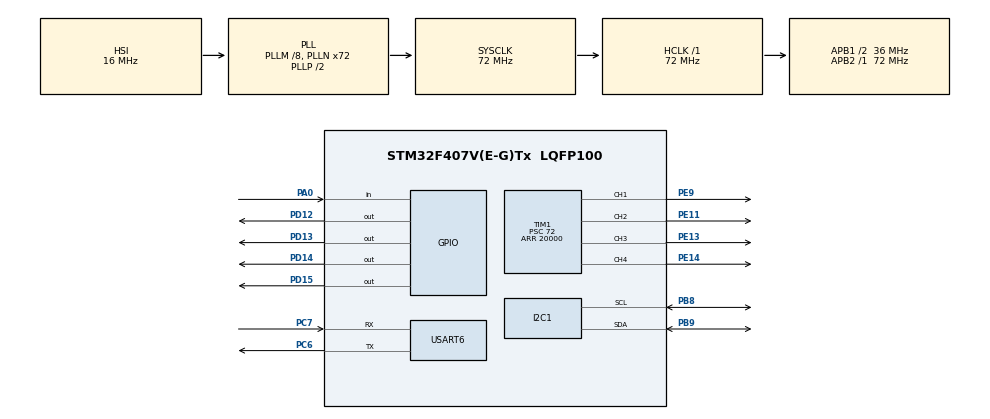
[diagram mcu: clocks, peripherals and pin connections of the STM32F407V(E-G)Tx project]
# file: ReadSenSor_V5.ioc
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I2C1.I2C_Mode=I2C_Fast
Mcu.Family=STM32F4
Mcu.Name=STM32F407V(E-G)Tx
Mcu.Package=LQFP100
NVIC.PriorityGroup=NVIC_PRIORITYGROUP_4
NVIC.TIM2_IRQn=true\:0\:0\:false\:false\:true\:true\:true\:true
NVIC.USART6_IRQn=true\:0\:0\:false\:false\:true\:true\:true\:true
PA0-WKUP.Signal=GPIO_Input
PA13.Mode=Serial_Wire
PA13.Signal=SYS_JTMS-SWDIO
PA14.Mode=Serial_Wire
PA14.Signal=SYS_JTCK-SWCLK
PB8.Mode=I2C
PB8.Signal=I2C1_SCL
PB9.Mode=I2C
PB9.Signal=I2C1_SDA
PC6.Mode=Asynchronous
PC6.Signal=USART6_TX
PC7.Mode=Asynchronous
PC7.Signal=USART6_RX
PD12.Signal=GPIO_Output
PD13.Signal=GPIO_Output
PD14.Signal=GPIO_Output
PD15.Signal=GPIO_Output
PE11.Signal=S_TIM1_CH2
PE13.Signal=S_TIM1_CH3
PE14.Signal=S_TIM1_CH4
PE9.Signal=S_TIM1_CH1
PH0-OSC_IN.Mode=HSE-External-Oscillator
PH0-OSC_IN.Signal=RCC_OSC_IN
PH1-OSC_OUT.Mode=HSE-External-Oscillator
PH1-OSC_OUT.Signal=RCC_OSC_OUT
ProjectManager.HeapSize=0x200
ProjectManager.StackSize=0x400
ProjectManager.TargetToolchain=MDK-ARM V5.32
RCC.48MHZClocksFreq_Value=36000000
RCC.AHBFreq_Value=72000000
RCC.APB1CLKDivider=RCC_HCLK_DIV2
RCC.APB1Freq_Value=36000000
RCC.APB1TimFreq_Value=72000000
RCC.APB2Freq_Value=72000000
RCC.APB2TimFreq_Value=72000000
RCC.CortexFreq_Value=72000000
RCC.HCLKFreq_Value=72000000
RCC.HSE_VALUE=25000000
RCC.HSI_VALUE=16000000
RCC.LSE_VALUE=32768
RCC.PLLM=8
RCC.PLLN=72
RCC.SYSCLKFreq_VALUE=72000000
RCC.SYSCLKSource=RCC_SYSCLKSOURCE_PLLCLK
RCC.VCOOutputFreq_Value=144000000
SH.S_TIM1_CH1.0=TIM1_CH1,PWM Generation1 CH1
SH.S_TIM1_CH2.0=TIM1_CH2,PWM Generation2 CH2
SH.S_TIM1_CH3.0=TIM1_CH3,PWM Generation3 CH3
SH.S_TIM1_CH4.0=TIM1_CH4,PWM Generation4 CH4
TIM1.AutoReloadPreload=TIM_AUTORELOAD_PRELOAD_ENABLE
TIM1.Channel-PWM\ Generation1\ CH1=TIM_CHANNEL_1
TIM1.Channel-PWM\ Generation2\ CH2=TIM_CHANNEL_2
TIM1.Channel-PWM\ Generation3\ CH3=TIM_CHANNEL_3
TIM1.Channel-PWM\ Generation4\ CH4=TIM_CHANNEL_4
TIM1.Period=20000
TIM1.Prescaler=72
TIM1.Pulse-PWM\ Generation1\ CH1=955
TIM1.Pulse-PWM\ Generation2\ CH2=955
TIM1.Pulse-PWM\ Generation3\ CH3=955
TIM1.Pulse-PWM\ Generation4\ CH4=955
TIM2.Period=72000000
USART6.VirtualMode=VM_ASYNC
VP_TIM1_VS_ClockSourceINT.Mode=Internal
VP_TIM2_VS_ClockSourceINT.Mode=Internal
board=custom

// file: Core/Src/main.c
/* USER CODE BEGIN Header */
/**
  ******************************************************************************
  * @file           : main.c
  * @brief          : Main program body
  ******************************************************************************
  * @attention
  *
  * Copyright (c) 2023 STMicroelectronics.
  * All rights reserved.
  *
  * This software is licensed under terms that can be found in the LICENSE file
  * in the root directory of this software component.
  * If no LICENSE file comes with this software, it is provided AS-IS.
  *
  ******************************************************************************
  */
/* USER CODE END Header */
#include "main.h"

/* USER CODE BEGIN Includes */
#include <math.h>
/* USER CODE END Includes */

/* USER CODE BEGIN PTD */
// MPU6050 structure
typedef struct
{

	int16_t Accel_X_RAW;
	int16_t Accel_Y_RAW;
	int16_t Accel_Z_RAW;
	float Ax;
	float Ay;
	float Az;

	int16_t Gyro_X_RAW;
	int16_t Gyro_Y_RAW;
	int16_t Gyro_Z_RAW;
	float Gx;
	float Gy;
	float Gz;

	int16_t Magn_X_RAW;
	int16_t Magn_Y_RAW;
	int16_t Magn_Z_RAW;
	float Mx;
	float My;
	float Mz;

	float roll;
	float pitch;
	float yaw;
	float Temperature;
	float heading;
} MPU6050_t;
// MS5611 structure
typedef struct
{
	uint16_t C[6]; // PROM
	uint16_t reserve;
	uint16_t crc;
	uint32_t D[2]; // D1 temperature data & D2 pressure data
	int32_t dT;	   // Difference between actual and reference temperature
	int64_t OFF;   // Offset at actual temperature
	int64_t SENS;  // Sensitivity at actual temperature
	int32_t TEMP;  // Actual temperature
	int32_t P;	   // Actual pressure
} MS5611_t;
// Quaternion structure
typedef struct
{
	float q1;
	float q2;
	float q3;
	float q4;
} Quaternion_t;
// Kalman structure
typedef struct
{
	float Q_angle;
	float Q_bias;
	float R_measure;
	float angle;
	float bias;
	float P[2][2];

} Kalman_t;
// Euler angle
typedef struct
{
	float roll;
	float pitch;
	float yaw;
} Euler_t;
// Lowpass filter
typedef struct
{
	float out;
	float ePow;

} Lowpass_t;
//PID
typedef struct
{
	float Kp;
	float Ki;
	float Kd;
	float e;
	float e_pre;
	float e_i;
	float v_e;
	float range;
	float Lower_limit;
	float Upper_limit;
} PID_t;
// Brushless
typedef struct
{
	float Duty;
	float Duty_base;
	float Duty_max;
	float Duty_min;
} Motor_t;
/* USER CODE END PTD */

/* USER CODE BEGIN PD */
#define PI 3.14159265358979
#define RAD_TO_DEG 57.295779513082320876798154814105
#define DEG_TO_RAD 0.01745329252
#define SIMPLE_TIME 0.002						 // 2ms
#define DELTA_T SIMPLE_TIME						 // 2ms
#define GYRO_MEAN_ERROR PI * (5.0f / 180.0f)	 // 5 deg/s gyroscope measurement error (in rad/s)  *from paper*
#define BETA sqrt(3.0f / 4.0f) * GYRO_MEAN_ERROR //*from paper* 0.041
#define ZETA 0.015
/* Default I2C address */
#define MPU6050_ADDRESS 0x68
#define MPU6050_ADDR 0xD0

/* Who I am register value */
#define MPU6050_I_AM 0x68

/* MPU6050 registers */
#define MPU6050_AUX_VDDIO 0x01
#define MPU6050_SELF_TEST_X 0X0D
#define MPU6050_SELF_TEST_Y 0X0E
#define MPU6050_SELF_TEST_Z 0X0F
#define MPU6050_SELF_TEST_A 0X10
#define MPU6050_SMPLRT_DIV 0x19
#define MPU6050_CONFIG 0x1A
#define MPU6050_GYRO_CONFIG 0x1B
#define MPU6050_ACCEL_CONFIG 0x1C
#define MPU6050_MOTION_THRESH 0x1F
#define MPU6050_FIFO_EN 0X23
#define MPU6050_I2C_MST_CTRL 0X24
#define MPU6050_I2C_SLV0_ADDR 0X25
#define MPU6050_I2C_SLV0_REG 0X26
#define MPU6050_I2C_SLV0_CTRL 0X27
#define MPU6050_INT_PIN_CFG 0x37
#define MPU6050_INT_ENABLE 0x38
#define MPU6050_INT_STATUS 0x3A
#define MPU6050_ACCEL_XOUT_H 0x3B
#define MPU6050_ACCEL_XOUT_L 0x3C
#define MPU6050_ACCEL_YOUT_H 0x3D
#define MPU6050_ACCEL_YOUT_L 0x3E
#define MPU6050_ACCEL_ZOUT_H 0x3F
#define MPU6050_ACCEL_ZOUT_L 0x40
#define MPU6050_TEMP_OUT_H 0x41
#define MPU6050_TEMP_OUT_L 0x42
#define MPU6050_GYRO_XOUT_H 0x43
#define MPU6050_GYRO_XOUT_L 0x44
#define MPU6050_GYRO_YOUT_H 0x45
#define MPU6050_GYRO_YOUT_L 0x46
#define MPU6050_GYRO_ZOUT_H 0x47
#define MPU6050_GYRO_ZOUT_L 0x48
#define MPU6050_MOT_DETECT_STATUS 0x61
#define MPU6050_I2C_MST_DELAY_CTRL 0x67
#define MPU6050_SIGNAL_PATH_RESET 0x68
#define MPU6050_MOT_DETECT_CTRL 0x69
#define MPU6050_USER_CTRL 0x6A
#define MPU6050_PWR_MGMT_1 0x6B
#define MPU6050_PWR_MGMT_2 0x6C
#define MPU6050_FIFO_COUNTH 0x72
#define MPU6050_FIFO_COUNTL 0x73
#define MPU6050_FIFO_R_W 0x74
#define MPU6050_WHO_AM_I 0x75

#define MPU6050_SMPLRT_DIV_1 0x00
#define MPU6050_EXT_SYNC_SET 0x00 // Input disabled
#define MPU6050_DLPF_CFG 0x01	  // acc {184Hz-2.0ms} gyro {188Hz-1.9ms} Fs 1kHz

#define MPU6050_XG_ST 0x01
#define MPU6050_YG_ST 0x01
#define MPU6050_ZG_ST 0x01
#define MPU6050_FS_SEL_250 0x00
#define MPU6050_FS_SEL_500 0x01
#define MPU6050_FS_SEL_1000 0x02
#define MPU6050_FS_SEL_2000 0x03

#define MPU6050_XA_ST 0x01
#define MPU6050_YA_ST 0x01
#define MPU6050_ZA_ST 0x01
#define MPU6050_AFS_SEL_2 0x00
#define MPU6050_AFS_SEL_4 0x01
#define MPU6050_AFS_SEL_8 0x02
#define MPU6050_AFS_SEL_16 0x03

#define MPU6050_I2C_MST_CLK_400 0x0D // 400 kHz
#define MPU6050_I2C_SLV0_DLY_EN 0x01

#define MPU6050_WAKEUP 0x00
#define MPU6050_CLKSEL_PLLX 0x01

/* Gyro sensitivities in degrees/s */
#define MPU6050_GYRO_SENS_250 ((float)131)
#define MPU6050_GYRO_SENS_500 ((float)65.5)
#define MPU6050_GYRO_SENS_1000 ((float)32.8)
#define MPU6050_GYRO_SENS_2000 ((float)16.4)

/* Acce sensitivities in g/s */
#define MPU6050_ACCE_SENS_2 ((float)16384)
#define MPU6050_ACCE_SENS_4 ((float)8192)
#define MPU6050_ACCE_SENS_8 ((float)4096)
#define MPU6050_ACCE_SENS_16 ((float)2048)

/* Default I2C address */
#define HMC5883L_ADDRESS 0x1E
#define HMC5883L_ADDR 0x3C
/* HMC5883L registers */
#define HMC5883L_CONFIG_A 0x00
#define HMC5883L_CONFIG_B 0x01
#define HMC5883L_MODE 0x02
#define HMC5883L_DATAX_H 0x03
#define HMC5883L_DATAX_L 0x04
#define HMC5883L_DATAZ_H 0x05
#define HMC5883L_DATAZ_L 0x06
#define HMC5883L_DATAY_H 0x07
#define HMC5883L_DATAY_L 0x08
#define HMC5883L_STATUS 0x09
#define HMC5883L_ID_A 0x0A
#define HMC5883L_ID_B 0x0B
#define HMC5883L_ID_C 0x0C

#define HMC5883L_AVERAGING_1 0x00
#define HMC5883L_AVERAGING_2 0x01
#define HMC5883L_AVERAGING_4 0x02
#define HMC5883L_AVERAGING_8 0x03

#define HMC5883L_RATE_0P75 0x00
#define HMC5883L_RATE_1P5 0x01
#define HMC5883L_RATE_3 0x02
#define HMC5883L_RATE_7P5 0x03
#define HMC5883L_RATE_15 0x04
#define HMC5883L_RATE_30 0x05
#define HMC5883L_RATE_75 0x06

#define HMC5883L_BIAS_NORMAL 0x00
#define HMC5883L_BIAS_POSITIVE 0x01
#define HMC5883L_BIAS_NEGATIVE 0x02

#define HMC5883L_SEL_0P88 0x00
#define HMC5883L_SEL_1P3 0x01
#define HMC5883L_SEL_1P9 0x02
#define HMC5883L_SEL_2P5 0x03
#define HMC5883L_SEL_4P0 0x04
#define HMC5883L_SEL_4P7 0x05
#define HMC5883L_SEL_5P6 0x06
#define HMC5883L_SEL_8P1 0x07

#define HMC5883L_MODE_CONTINUOUS 0x00
#define HMC5883L_MODE_SINGLE 0x01
#define HMC5883L_MODE_IDLE 0x02

#define HMC5883L_STATUS_LOCK_BIT 1
#define HMC5883L_STATUS_READY_BIT 0

#define HMC5883L_MAGN_SENS_0P88 ((float)1370)
#define HMC5883L_MAGN_SENS_1P3 ((float)1090)
#define HMC5883L_MAGN_SENS_1P9 ((float)820)
#define HMC5883L_MAGN_SENS_2P5 ((float)660)
#define HMC5883L_MAGN_SENS_4P0 ((float)440)
#define HMC5883L_MAGN_SENS_4P7 ((float)390)
#define HMC5883L_MAGN_SENS_5P6 ((float)330)
#define HMC5883L_MAGN_SENS_8P1 ((float)230)
/* Default I2C address */
#define MS5611_ADDRESS 0x77
#define MS5611_ADDR 0xEE

#define MS5611_OK 0x01
#define MS5611_ERROR 0x00

// COMMAND
#define MS5611_CMD_REST 0X1E
#define MS5611_CMD_CONVERT_D1_256 0X40
#define MS5611_CMD_CONVERT_D1_512 0X42
#define MS5611_CMD_CONVERT_D1_1024 0X44
#define MS5611_CMD_CONVERT_D1_2048 0X46
#define MS5611_CMD_CONVERT_D1_4096 0X48
#define MS5611_CMD_CONVERT_D2_256 0X50
#define MS5611_CMD_CONVERT_D2_512 0X52
#define MS5611_CMD_CONVERT_D2_1024 0X54
#define MS5611_CMD_CONVERT_D2_2048 0X56
#define MS5611_CMD_CONVERT_D2_4096 0X58

#define MS6511_ADC_READ 0X00

#define MS5611_PROM_READ_0 0XA0
#define MS5611_PROM_READ_1 0XA2
#define MS5611_PROM_READ_2 0XA4
#define MS5611_PROM_READ_3 0XA6
#define MS5611_PROM_READ_4 0XA8
#define MS5611_PROM_READ_5 0XAA
#define MS5611_PROM_READ_6 0XAC
#define MS5611_PROM_READ_7 0XAE

/* USER CODE END PD */

I2C_HandleTypeDef hi2c1;

TIM_HandleTypeDef htim1;
TIM_HandleTypeDef htim2;

UART_HandleTypeDef huart6;

/* USER CODE BEGIN PV */
const uint16_t i2c_timeout = 100;
int enable = 0;
float Beta = 0.041;
float Zeta = 0.015;

MPU6050_t MPU6050;
MS5611_t MS5611;

Quaternion_t Q_est = {1,0,0,0};

Motor_t M1 = {
	.Duty = 0,
	.Duty_base = 45,
	.Duty_min = 955,
	.Duty_max = 1400,
};
Motor_t M2 = {
	.Duty = 0,
	.Duty_base = 45,
	.Duty_min = 955,
	.Duty_max = 1400,
};
Motor_t M3 = {
	.Duty = 0,
	.Duty_base = 45,
	.Duty_min = 955,
	.Duty_max = 1400,
};
Motor_t M4 = {
	.Duty = 0,
	.Duty_base = 45,
	.Duty_min = 955,
	.Duty_max = 1400,
};
PID_t PID_roll = {
	.Kp = 0,
	.Ki = 0,
	.Kd = 0,
	.e = 0,
	.e_pre = 0,
	.v_e = 0,
	.e_i = 0,
	.range = 0,
	.Upper_limit = 100,
	.Lower_limit = -100,
};
PID_t PID_pitch = {
	.Kp = 0,
	.Ki = 0,
	.Kd = 0,
	.e = 0,
	.e_pre = 0,
	.v_e = 0,
	.e_i = 0,
	.range = 1,
	.Upper_limit = 100,
	.Lower_limit = -100,
};
PID_t PID_yaw = {
	.Kp = 0,
	.Ki = 0,
	.Kd = 0,
	.e = 0,
	.e_pre = 0,
	.v_e = 0,
	.e_i = 0,
	.range = 0,
	.Upper_limit = 100,
	.Lower_limit = -100,
};
PID_t PID_height = {
	.Kp = 0,
	.Ki = 0,
	.Kd = 0,
	.e = 0,
	.e_pre = 0,
	.v_e = 0,
	.e_i = 0,
	.range = 0,
	.Upper_limit = 100,
	.Lower_limit = -100,
};

Lowpass_t LP_height = {0};
Euler_t Madgwick = {
	.roll 	= 0,
	.pitch 	= 0,
	.yaw 		= 0,
};
Euler_t Madgwick_GimbalLock = {
	.roll 	= 0,
	.pitch 	= 0,
	.yaw 		= 0,
};
Euler_t Setpoint = {
	.roll 	= 0,
	.pitch	= 0,
	.yaw 		= 0,
};
Euler_t Offfset = {
	.roll 	= 0,
	.pitch 	= 0,
	.yaw	 	= 0,
};
double height;
double SP_height = 0;
/* USER CODE END PV */

void SystemClock_Config(void);
static void MX_GPIO_Init(void);
static void MX_I2C1_Init(void);
static void MX_TIM1_Init(void);
static void MX_TIM2_Init(void);
static void MX_USART6_UART_Init(void);
/* USER CODE BEGIN PFP */
void scanner(void);
void plot(Euler_t angle);
// MPU Function
uint8_t MPU6050_Init(I2C_HandleTypeDef *I2Cx);
void MPU6050_Bypass(I2C_HandleTypeDef *I2Cx);
void MPU6050_Master(I2C_HandleTypeDef *I2Cx);
void MPU6050_Addslave(I2C_HandleTypeDef *I2Cx);
void MPU6050_Read_All(I2C_HandleTypeDef *I2Cx, MPU6050_t *DataStruct);
// HMC Function
void HMC5883L_Init(I2C_HandleTypeDef *I2Cx);
// MS Function
void MS5611_Rest(I2C_HandleTypeDef *I2Cx);
uint8_t MS5611_PROM_read(I2C_HandleTypeDef *I2Cx, MS5611_t *datastruct);
uint8_t MS5611_init(I2C_HandleTypeDef *I2Cx, MS5611_t *datastruct);
uint8_t MS5611_read_temp(I2C_HandleTypeDef *I2Cx, MS5611_t *datastruct);
uint8_t MS5611_read_press(I2C_HandleTypeDef *I2Cx, MS5611_t *datastruct);
uint8_t MS5611_calculate(MS5611_t *datastruct);
double getAltitude(double pressure, double referencePressure);
// Quaternions
Quaternion_t quat_mult(Quaternion_t L, Quaternion_t R);
void quat_scalar(Quaternion_t *q, float scalar);
void quat_add(Quaternion_t *Sum, Quaternion_t L, Quaternion_t R);
void quat_sub(Quaternion_t *Sum, Quaternion_t L, Quaternion_t R);
Quaternion_t quat_conjugate(Quaternion_t q);
float quat_Norm(Quaternion_t q);
void quat_Normalization(Quaternion_t *q);
// Madwick Function
void Madgwick_imu(MPU6050_t *DataStruct, Euler_t *Angle,Quaternion_t *q_est);
void Madgwick_update(MPU6050_t *DataStruct, Euler_t *Angle,Quaternion_t *q_est);
// Lowpass Filter Function
void LPF(Lowpass_t *lp, float cutoffFrequency, float input);
// Euler angle Function
void eulerAngles(Quaternion_t q, Euler_t *Angle);
void eulerAngles_GimbalLock(Quaternion_t q, Euler_t *Angle);
// ESC
void setupESC();
void ESC_Control(uint16_t Duty1,uint16_t Duty2,uint16_t Duty3,uint16_t Duty4);
// PID
float PID_Control(float Sp, float Fb, PID_t *pid);
void Combining_Angle_height(Motor_t *m1, Motor_t *m2, Motor_t *m3, Motor_t *m4, float roll, float pitch, float yaw, float height);

/* USER CODE END PFP */

int main(void)
{

  /* MCU Configuration--------------------------------------------------------*/

  /* Reset of all peripherals, Initializes the Flash interface and the Systick. */
  HAL_Init();

  /* Configure the system clock */
  SystemClock_Config();

  /* Initialize all configured peripherals */
  MX_GPIO_Init();
  MX_I2C1_Init();
  MX_TIM1_Init();
  MX_TIM2_Init();
  MX_USART6_UART_Init();
  /* USER CODE BEGIN 2 */
	while (MPU6050_Init(&hi2c1) == 1);
	MPU6050_Bypass(&hi2c1);
	HMC5883L_Init(&hi2c1);
	MPU6050_Master(&hi2c1);
	MPU6050_Addslave(&hi2c1);
	MS5611_init(&hi2c1,&MS5611);
	setupESC();
	HAL_TIM_Base_Start_IT(&htim2);
  /* USER CODE END 2 */

  /* Infinite loop */
  while (1)
  {

  }
}

void SystemClock_Config(void)
{
  RCC_OscInitTypeDef RCC_OscInitStruct = {0};
  RCC_ClkInitTypeDef RCC_ClkInitStruct = {0};

  /** Configure the main internal regulator output voltage
  */
  __HAL_RCC_PWR_CLK_ENABLE();
  __HAL_PWR_VOLTAGESCALING_CONFIG(PWR_REGULATOR_VOLTAGE_SCALE1);

  /** Initializes the RCC Oscillators according to the specified parameters
  * in the RCC_OscInitTypeDef structure.
  */
  RCC_OscInitStruct.OscillatorType = RCC_OSCILLATORTYPE_HSI;
  RCC_OscInitStruct.HSIState = RCC_HSI_ON;
  RCC_OscInitStruct.HSICalibrationValue = RCC_HSICALIBRATION_DEFAULT;
  RCC_OscInitStruct.PLL.PLLState = RCC_PLL_ON;
  RCC_OscInitStruct.PLL.PLLSource = RCC_PLLSOURCE_HSI;
  RCC_OscInitStruct.PLL.PLLM = 8;
  RCC_OscInitStruct.PLL.PLLN = 72;
  RCC_OscInitStruct.PLL.PLLP = RCC_PLLP_DIV2;
  RCC_OscInitStruct.PLL.PLLQ = 4;
  if (HAL_RCC_OscConfig(&RCC_OscInitStruct) != HAL_OK)
  {
    Error_Handler();
  }

  /** Initializes the CPU, AHB and APB buses clocks
  */
  RCC_ClkInitStruct.ClockType = RCC_CLOCKTYPE_HCLK|RCC_CLOCKTYPE_SYSCLK
                              |RCC_CLOCKTYPE_PCLK1|RCC_CLOCKTYPE_PCLK2;
  RCC_ClkInitStruct.SYSCLKSource = RCC_SYSCLKSOURCE_PLLCLK;
  RCC_ClkInitStruct.AHBCLKDivider = RCC_SYSCLK_DIV1;
  RCC_ClkInitStruct.APB1CLKDivider = RCC_HCLK_DIV2;
  RCC_ClkInitStruct.APB2CLKDivider = RCC_HCLK_DIV1;

  if (HAL_RCC_ClockConfig(&RCC_ClkInitStruct, FLASH_LATENCY_2) != HAL_OK)
  {
    Error_Handler();
  }
}

static void MX_I2C1_Init(void)
{

  hi2c1.Instance = I2C1;
  hi2c1.Init.ClockSpeed = 400000;
  hi2c1.Init.DutyCycle = I2C_DUTYCYCLE_2;
  hi2c1.Init.OwnAddress1 = 0;
  hi2c1.Init.AddressingMode = I2C_ADDRESSINGMODE_7BIT;
  hi2c1.Init.DualAddressMode = I2C_DUALADDRESS_DISABLE;
  hi2c1.Init.OwnAddress2 = 0;
  hi2c1.Init.GeneralCallMode = I2C_GENERALCALL_DISABLE;
  hi2c1.Init.NoStretchMode = I2C_NOSTRETCH_DISABLE;
  if (HAL_I2C_Init(&hi2c1) != HAL_OK)
  {
    Error_Handler();
  }

}

static void MX_TIM1_Init(void)
{

  TIM_ClockConfigTypeDef sClockSourceConfig = {0};
  TIM_MasterConfigTypeDef sMasterConfig = {0};
  TIM_OC_InitTypeDef sConfigOC = {0};
  TIM_BreakDeadTimeConfigTypeDef sBreakDeadTimeConfig = {0};

  htim1.Instance = TIM1;
  htim1.Init.Prescaler = 72;
  htim1.Init.CounterMode = TIM_COUNTERMODE_UP;
  htim1.Init.Period = 20000;
  htim1.Init.ClockDivision = TIM_CLOCKDIVISION_DIV1;
  htim1.Init.RepetitionCounter = 0;
  htim1.Init.AutoReloadPreload = TIM_AUTORELOAD_PRELOAD_ENABLE;
  if (HAL_TIM_Base_Init(&htim1) != HAL_OK)
  {
    Error_Handler();
  }
  sClockSourceConfig.ClockSource = TIM_CLOCKSOURCE_INTERNAL;
  if (HAL_TIM_ConfigClockSource(&htim1, &sClockSourceConfig) != HAL_OK)
  {
    Error_Handler();
  }
  if (HAL_TIM_PWM_Init(&htim1) != HAL_OK)
  {
    Error_Handler();
  }
  sMasterConfig.MasterOutputTrigger = TIM_TRGO_RESET;
  sMasterConfig.MasterSlaveMode = TIM_MASTERSLAVEMODE_DISABLE;
  if (HAL_TIMEx_MasterConfigSynchronization(&htim1, &sMasterConfig) != HAL_OK)
  {
    Error_Handler();
  }
  sConfigOC.OCMode = TIM_OCMODE_PWM1;
  sConfigOC.Pulse = 955;
  sConfigOC.OCPolarity = TIM_OCPOLARITY_HIGH;
  sConfigOC.OCNPolarity = TIM_OCNPOLARITY_HIGH;
  sConfigOC.OCFastMode = TIM_OCFAST_DISABLE;
  sConfigOC.OCIdleState = TIM_OCIDLESTATE_RESET;
  sConfigOC.OCNIdleState = TIM_OCNIDLESTATE_RESET;
  if (HAL_TIM_PWM_ConfigChannel(&htim1, &sConfigOC, TIM_CHANNEL_1) != HAL_OK)
  {
    Error_Handler();
  }
  if (HAL_TIM_PWM_ConfigChannel(&htim1, &sConfigOC, TIM_CHANNEL_2) != HAL_OK)
  {
    Error_Handler();
  }
  if (HAL_TIM_PWM_ConfigChannel(&htim1, &sConfigOC, TIM_CHANNEL_3) != HAL_OK)
  {
    Error_Handler();
  }
  if (HAL_TIM_PWM_ConfigChannel(&htim1, &sConfigOC, TIM_CHANNEL_4) != HAL_OK)
  {
    Error_Handler();
  }
  sBreakDeadTimeConfig.OffStateRunMode = TIM_OSSR_DISABLE;
  sBreakDeadTimeConfig.OffStateIDLEMode = TIM_OSSI_DISABLE;
  sBreakDeadTimeConfig.LockLevel = TIM_LOCKLEVEL_OFF;
  sBreakDeadTimeConfig.DeadTime = 0;
  sBreakDeadTimeConfig.BreakState = TIM_BREAK_DISABLE;
  sBreakDeadTimeConfig.BreakPolarity = TIM_BREAKPOLARITY_HIGH;
  sBreakDeadTimeConfig.AutomaticOutput = TIM_AUTOMATICOUTPUT_DISABLE;
  if (HAL_TIMEx_ConfigBreakDeadTime(&htim1, &sBreakDeadTimeConfig) != HAL_OK)
  {
    Error_Handler();
  }
  HAL_TIM_MspPostInit(&htim1);

}

static void MX_TIM2_Init(void)
{

  TIM_ClockConfigTypeDef sClockSourceConfig = {0};
  TIM_MasterConfigTypeDef sMasterConfig = {0};

  htim2.Instance = TIM2;
  htim2.Init.Prescaler = 0;
  htim2.Init.CounterMode = TIM_COUNTERMODE_UP;
  htim2.Init.Period = 72000000*SIMPLE_TIME;
  htim2.Init.ClockDivision = TIM_CLOCKDIVISION_DIV1;
  htim2.Init.AutoReloadPreload = TIM_AUTORELOAD_PRELOAD_DISABLE;
  if (HAL_TIM_Base_Init(&htim2) != HAL_OK)
  {
    Error_Handler();
  }
  sClockSourceConfig.ClockSource = TIM_CLOCKSOURCE_INTERNAL;
  if (HAL_TIM_ConfigClockSource(&htim2, &sClockSourceConfig) != HAL_OK)
  {
    Error_Handler();
  }
  sMasterConfig.MasterOutputTrigger = TIM_TRGO_RESET;
  sMasterConfig.MasterSlaveMode = TIM_MASTERSLAVEMODE_DISABLE;
  if (HAL_TIMEx_MasterConfigSynchronization(&htim2, &sMasterConfig) != HAL_OK)
  {
    Error_Handler();
  }

}

static void MX_USART6_UART_Init(void)
{

  huart6.Instance = USART6;
  huart6.Init.BaudRate = 115200;
  huart6.Init.WordLength = UART_WORDLENGTH_8B;
  huart6.Init.StopBits = UART_STOPBITS_1;
  huart6.Init.Parity = UART_PARITY_NONE;
  huart6.Init.Mode = UART_MODE_TX_RX;
  huart6.Init.HwFlowCtl = UART_HWCONTROL_NONE;
  huart6.Init.OverSampling = UART_OVERSAMPLING_16;
  if (HAL_UART_Init(&huart6) != HAL_OK)
  {
    Error_Handler();
  }

}

static void MX_GPIO_Init(void)
{
  GPIO_InitTypeDef GPIO_InitStruct = {0};

  /* GPIO Ports Clock Enable */
  __HAL_RCC_GPIOH_CLK_ENABLE();
  __HAL_RCC_GPIOA_CLK_ENABLE();
  __HAL_RCC_GPIOE_CLK_ENABLE();
  __HAL_RCC_GPIOD_CLK_ENABLE();
  __HAL_RCC_GPIOC_CLK_ENABLE();
  __HAL_RCC_GPIOB_CLK_ENABLE();

  /*Configure GPIO pin Output Level */
  HAL_GPIO_WritePin(GPIOD, GPIO_PIN_12|GPIO_PIN_13|GPIO_PIN_14|GPIO_PIN_15, GPIO_PIN_RESET);

  /*Configure GPIO pin : PA0 */
  GPIO_InitStruct.Pin = GPIO_PIN_0;
  GPIO_InitStruct.Mode = GPIO_MODE_INPUT;
  GPIO_InitStruct.Pull = GPIO_NOPULL;
  HAL_GPIO_Init(GPIOA, &GPIO_InitStruct);

  /*Configure GPIO pins : PD12 PD13 PD14 PD15 */
  GPIO_InitStruct.Pin = GPIO_PIN_12|GPIO_PIN_13|GPIO_PIN_14|GPIO_PIN_15;
  GPIO_InitStruct.Mode = GPIO_MODE_OUTPUT_PP;
  GPIO_InitStruct.Pull = GPIO_NOPULL;
  GPIO_InitStruct.Speed = GPIO_SPEED_FREQ_LOW;
  HAL_GPIO_Init(GPIOD, &GPIO_InitStruct);

}

/* USER CODE BEGIN 4 */
uint8_t MPU6050_Init(I2C_HandleTypeDef *I2Cx)
{
	uint8_t check;
	uint8_t Data;

	// check device ID WHO_AM_I
	HAL_I2C_Mem_Read(I2Cx, MPU6050_ADDR, MPU6050_WHO_AM_I, 1, &check, 1, i2c_timeout);
	if (check == 104) // 0x68 will be returned by the sensor if everything goes well
	{
		// power management register 0X6B we should write all 0's to wake the sensor up, gyroscope based clock
		Data = MPU6050_WAKEUP << 6 | MPU6050_CLKSEL_PLLX;
		HAL_I2C_Mem_Write(I2Cx, MPU6050_ADDR, MPU6050_PWR_MGMT_1, 1, &Data, 1, i2c_timeout);

		// Set DATA RATE of 1KHz by writing SMPLRT_DIV register
		Data = MPU6050_SMPLRT_DIV_1;
		HAL_I2C_Mem_Write(I2Cx, MPU6050_ADDR, MPU6050_SMPLRT_DIV, 1, &Data, 1, i2c_timeout);

		// This register configures the external Frame Synchronization (FSYNC) pin sampling
		// the Digital Low Pass Filter (DLPF) setting for both the gyroscopes and accelerometers
		Data = MPU6050_EXT_SYNC_SET << 3 | MPU6050_DLPF_CFG;
		HAL_I2C_Mem_Write(I2Cx, MPU6050_ADDR, MPU6050_CONFIG, 1, &Data, 1, i2c_timeout);

		// Set Gyroscopic configuration in GYRO_CONFIG Register
		// XG_ST=0,YG_ST=0,ZG_ST=0, FS_SEL=0 -> +- 250 degree/s
		Data = MPU6050_FS_SEL_250 << 3 | 0x00;
		HAL_I2C_Mem_Write(I2Cx, MPU6050_ADDR, MPU6050_GYRO_CONFIG, 1, &Data, 1, i2c_timeout);

		// Set accelerometer configuration in ACCEL_CONFIG Register
		// XA_ST=0,YA_ST=0,ZA_ST=0, FS_SEL=0 -> +- 2g
		Data = MPU6050_AFS_SEL_2 << 3 | 0x00;
		HAL_I2C_Mem_Write(I2Cx, MPU6050_ADDR, MPU6050_ACCEL_CONFIG, 1, &Data, 1, i2c_timeout);

		// sets the I2C master clock speed
		Data = MPU6050_I2C_MST_CLK_400;
		HAL_I2C_Mem_Write(I2Cx, MPU6050_ADDR, MPU6050_I2C_MST_CTRL, 1, &Data, 1, i2c_timeout);
		return 0;
	}
	return 1;
}
void MPU6050_Bypass(I2C_HandleTypeDef *I2Cx)
{
	uint8_t Data;
	// disable i2c master mode
	Data = 0x00;
	HAL_I2C_Mem_Write(I2Cx, MPU6050_ADDR, MPU6050_USER_CTRL, 1, &Data, 1, i2c_timeout);
	// enable i2c master bypass mode
	Data = 0x02;
	HAL_I2C_Mem_Write(I2Cx, MPU6050_ADDR, MPU6050_INT_PIN_CFG, 1, &Data, 1, i2c_timeout);
}
void MPU6050_Master(I2C_HandleTypeDef *I2Cx)
{
	uint8_t Data;
	// disable i2c master bypass mode
	Data = 0x00;
	HAL_I2C_Mem_Write(I2Cx, MPU6050_ADDR, MPU6050_INT_PIN_CFG, 1, &Data, 1, i2c_timeout);
	// enable i2c master mode
	Data = 0x20;
	HAL_I2C_Mem_Write(I2Cx, MPU6050_ADDR, MPU6050_USER_CTRL, 1, &Data, 1, i2c_timeout);
}
// configure the MPU6050 to automatically read the magnetometer
void MPU6050_Addslave(I2C_HandleTypeDef *I2Cx)
{
	uint8_t Data;
	// slave 0 i2c address, read mode
	Data = HMC5883L_ADDRESS | 0x80;
	HAL_I2C_Mem_Write(I2Cx, MPU6050_ADDR, MPU6050_I2C_SLV0_ADDR, 1, &Data, 1, i2c_timeout);
	// slave 0 register = 0x03 (x axis)
	Data = HMC5883L_DATAX_H;
	HAL_I2C_Mem_Write(I2Cx, MPU6050_ADDR, MPU6050_I2C_SLV0_REG, 1, &Data, 1, i2c_timeout);
	// slave 0 transfer size = 6, enabled
	Data = 0x06 | 0x80;
	HAL_I2C_Mem_Write(I2Cx, MPU6050_ADDR, MPU6050_I2C_SLV0_CTRL, 1, &Data, 1, i2c_timeout);
	// enable slave 0 delay
	Data = MPU6050_I2C_SLV0_DLY_EN;
	HAL_I2C_Mem_Write(I2Cx, MPU6050_ADDR, MPU6050_I2C_MST_DELAY_CTRL, 1, &Data, 1, i2c_timeout);
}
void MPU6050_Read_All(I2C_HandleTypeDef *I2Cx, MPU6050_t *DataStruct)
{
	uint8_t Rec_Data[20];
	int16_t temp;

	// Read 14 BYTES of data starting from ACCEL_XOUT_H register

	HAL_I2C_Mem_Read(I2Cx, MPU6050_ADDR, MPU6050_ACCEL_XOUT_H, 1, Rec_Data, 20, i2c_timeout);

	DataStruct->Accel_X_RAW = (int16_t)(Rec_Data[0] << 8 | Rec_Data[1]);
	DataStruct->Accel_Y_RAW = (int16_t)(Rec_Data[2] << 8 | Rec_Data[3]);
	DataStruct->Accel_Z_RAW = (int16_t)(Rec_Data[4] << 8 | Rec_Data[5]);

	temp = (int16_t)(Rec_Data[6] << 8 | Rec_Data[7]);

	DataStruct->Gyro_X_RAW = (int16_t)(Rec_Data[8] << 8 | Rec_Data[9]);
	DataStruct->Gyro_Y_RAW = (int16_t)(Rec_Data[10] << 8 | Rec_Data[11]);
	DataStruct->Gyro_Z_RAW = (int16_t)(Rec_Data[12] << 8 | Rec_Data[13]);

	DataStruct->Magn_X_RAW = (int16_t)(Rec_Data[14] << 8 | Rec_Data[15]);
	DataStruct->Magn_Z_RAW = (int16_t)(Rec_Data[16] << 8 | Rec_Data[17]);
	DataStruct->Magn_Y_RAW = (int16_t)(Rec_Data[18] << 8 | Rec_Data[19]);

	DataStruct->Ax = DataStruct->Accel_X_RAW / MPU6050_ACCE_SENS_2;
	DataStruct->Ay = DataStruct->Accel_Y_RAW / MPU6050_ACCE_SENS_2;
	DataStruct->Az = DataStruct->Accel_Z_RAW / MPU6050_ACCE_SENS_2;

	DataStruct->Temperature = (float)((int16_t)temp / (float)340.0 + (float)36.53);

	DataStruct->Gx = DataStruct->Gyro_X_RAW / MPU6050_GYRO_SENS_250 * DEG_TO_RAD;
	DataStruct->Gy = DataStruct->Gyro_Y_RAW / MPU6050_GYRO_SENS_250 * DEG_TO_RAD;
	DataStruct->Gz = DataStruct->Gyro_Z_RAW / MPU6050_GYRO_SENS_250 * DEG_TO_RAD;

	DataStruct->Mx = DataStruct->Magn_X_RAW / HMC5883L_MAGN_SENS_1P3;
	DataStruct->My = DataStruct->Magn_Y_RAW / HMC5883L_MAGN_SENS_1P3;
	DataStruct->Mz = DataStruct->Magn_Z_RAW / HMC5883L_MAGN_SENS_1P3;

	DataStruct->roll 	= -RAD_TO_DEG * atan(DataStruct->Ax / sqrt(DataStruct->Ay*DataStruct->Ay + DataStruct->Az*DataStruct->Az));
  DataStruct->pitch = RAD_TO_DEG * atan(DataStruct->Ay / sqrt(DataStruct->Ax*DataStruct->Ax + DataStruct->Az*DataStruct->Az));
  DataStruct->yaw 	= RAD_TO_DEG * atan(sqrt(DataStruct->Ay*DataStruct->Ay + DataStruct->Ax*DataStruct->Ax) / DataStruct->Az);
	//		// To calculate heading in degrees. 0 degree indicates North
	//		DataStruct->heading = atan2(DataStruct->My,DataStruct->Mx) * RAD_TO_DEG;
	//		if(DataStruct->heading < 0)
	//    DataStruct->heading += 360;
}
void HMC5883L_Init(I2C_HandleTypeDef *I2Cx)
{
	uint8_t Data;
	// write CONFIG_A register
	Data = HMC5883L_AVERAGING_1 << 5 | HMC5883L_RATE_75 << 2 | HMC5883L_BIAS_NORMAL;
	HAL_I2C_Mem_Write(I2Cx, HMC5883L_ADDR, HMC5883L_CONFIG_A, 1, &Data, 1, i2c_timeout);
	// write CONFIG_B register
	Data = HMC5883L_SEL_1P3 << 5 | 0x00;
	HAL_I2C_Mem_Write(I2Cx, HMC5883L_ADDR, HMC5883L_CONFIG_B, 1, &Data, 1, i2c_timeout);
	// write MODE register
	Data = HMC5883L_MODE_CONTINUOUS;
	HAL_I2C_Mem_Write(I2Cx, HMC5883L_ADDR, HMC5883L_MODE, 1, &Data, 1, i2c_timeout);
}
void MS5611_Rest(I2C_HandleTypeDef *I2Cx)
{
	uint8_t Data;

	Data = 0;
	HAL_I2C_Mem_Write(I2Cx, MS5611_ADDR, MS5611_CMD_REST, 1, &Data, 1, i2c_timeout);
	HAL_Delay(4);
}
uint8_t MS5611_PROM_read(I2C_HandleTypeDef *I2Cx, MS5611_t *datastruct)
{
	uint8_t i;
	uint8_t data[2];
	uint8_t PROM[8] = {MS5611_PROM_READ_0,
										 MS5611_PROM_READ_1,
										 MS5611_PROM_READ_2,
										 MS5611_PROM_READ_3,
										 MS5611_PROM_READ_4,
										 MS5611_PROM_READ_5,
										 MS5611_PROM_READ_6,
										 MS5611_PROM_READ_7};
	//Address 0 contains factory data and the setup
	HAL_I2C_Mem_Read(I2Cx, MS5611_ADDR, PROM[0], 1, data, 2, i2c_timeout);
	datastruct->reserve = (uint16_t)(data[0] << 8 | data[1]);
	// Addresses 1-6 calibration coefficients
	for (i = 1; i < 7; i++)
	{
		HAL_I2C_Mem_Read(I2Cx, MS5611_ADDR, PROM[i], 1, data, 2, i2c_timeout);
		datastruct->C[i - 1] = (uint16_t)(data[0] << 8 | data[1]);
	}
	//Address 7 contains the serial code and CRC
	HAL_I2C_Mem_Read(I2Cx, MS5611_ADDR, PROM[7], 1, data, 2, i2c_timeout);
	datastruct->crc = (uint16_t)(data[0] << 8 | data[1]);

	return MS5611_OK;
}
uint8_t MS5611_init(I2C_HandleTypeDef *I2Cx, MS5611_t *datastruct)
{
	MS5611_Rest(I2Cx);
	MS5611_PROM_read(I2Cx, datastruct);
	return MS5611_OK;
}
uint8_t MS5611_read_temp(I2C_HandleTypeDef *I2Cx, MS5611_t *datastruct)
{
	uint8_t data[3];
	uint8_t Data;

	HAL_I2C_Mem_Read(I2Cx, MS5611_ADDR, MS6511_ADC_READ, 1, data, 3, i2c_timeout);
	datastruct->D[1] = (data[0] << 16 | data[1] << 8 | data[2]);
	Data = 0;
	HAL_I2C_Mem_Write(I2Cx, MS5611_ADDR, MS5611_CMD_CONVERT_D1_2048, 1, &Data, 1, i2c_timeout);// delay 4.13ms read press
	return MS5611_OK;
}
uint8_t MS5611_read_press(I2C_HandleTypeDef *I2Cx, MS5611_t *datastruct)
{
	uint8_t data[3];
	uint8_t Data;

	HAL_I2C_Mem_Read(I2Cx, MS5611_ADDR, MS6511_ADC_READ, 1, data, 3, i2c_timeout);
	datastruct->D[0] = (data[0] << 16 | data[1] << 8 | data[2]);
	Data = 0;
	HAL_I2C_Mem_Write(I2Cx, MS5611_ADDR, MS5611_CMD_CONVERT_D2_2048, 1, &Data, 1, i2c_timeout);// delay 4.13ms read temp
	return MS5611_OK;
}
uint8_t MS5611_calculate(MS5611_t *datastruct)
{
	static int time = 0;
	time++;
	if(time>2)
	{
	static int8_t mode = 0;
	int64_t dT = 0, TEMP = 0, T2 = 0, OFF = 0, OFF2 = 0, SENS2 = 0, SENS = 0, PRES = 0;
	if (mode)
	{
		MS5611_read_temp(&hi2c1,&MS5611);
		mode = 0;
	}
	else
	{
		MS5611_read_press(&hi2c1,&MS5611);
		mode = 1;
	}
	if(mode == 0)
	{
	dT = datastruct->D[1] - ((int32_t)(datastruct->C[4]) << 8);
	TEMP = 2000 + ((int32_t)(dT * (datastruct->C[5])) >> 23);
	OFF = (((int64_t)(datastruct->C[1])) << 16) + (((datastruct->C[3]) * dT) >> 7);
	SENS = (((int64_t)(datastruct->C[0])) << 15) + (((datastruct->C[2]) * dT) >> 8);

	if (TEMP < 2000)
	{ // temperature < 20°C
		T2 = (dT * dT) >> 31;
		OFF2 = 5 * (TEMP - 2000) * (TEMP - 2000) / 2;
		SENS2 = 5 * (TEMP - 2000) * (TEMP - 2000) / 4;

		if (TEMP < -1500)
		{ // temperature < -15°C
			OFF2 = OFF2 + (7 * (TEMP + 1500) * (TEMP + 1500));
			SENS2 = SENS2 + (11 * (TEMP + 1500) * (TEMP + 1500) / 2);
		}
	}
	else
	{ // temperature > 20°C
		T2 = 0;
		OFF2 = 0;
		SENS2 = 0;
	}

	datastruct->dT = dT;
	datastruct->OFF = OFF - OFF2;
	datastruct->TEMP = TEMP - T2;
	datastruct->SENS = SENS - SENS2;

	PRES = ((((int32_t)(datastruct->D[0]) * (datastruct->SENS)) >> 21) - (datastruct->OFF)) >> 15;
	datastruct->P = PRES;
	}
	time = 0;
}
	return MS5611_OK;
}
double getAltitude(double pressure, double referencePressure)
{
    return (44330.0f * (1.0f - pow((double)pressure / (double)referencePressure, 0.1902949f)));
}
// Multiply two quaternions and return a copy of the result, prod = L * R
Quaternion_t quat_mult(Quaternion_t L, Quaternion_t R)
{
	Quaternion_t product;
	product.q1 = (L.q1 * R.q1) - (L.q2 * R.q2) - (L.q3 * R.q3) - (L.q4 * R.q4);
	product.q2 = (L.q1 * R.q2) + (L.q2 * R.q1) + (L.q3 * R.q4) - (L.q4 * R.q3);
	product.q3 = (L.q1 * R.q3) - (L.q2 * R.q4) + (L.q3 * R.q1) + (L.q4 * R.q2);
	product.q4 = (L.q1 * R.q4) + (L.q2 * R.q3) - (L.q3 * R.q2) + (L.q4 * R.q1);

	return product;
}

// Multiply a reference of a quaternion by a scalar, q = s*q
void quat_scalar(Quaternion_t *q, float scalar)
{
	q->q1 *= scalar;
	q->q2 *= scalar;
	q->q3 *= scalar;
	q->q4 *= scalar;
}

// Adds two quaternions together and the sum is the pointer to another quaternion, Sum = L + R
void quat_add(Quaternion_t *Sum, Quaternion_t L, Quaternion_t R)
{
	Sum->q1 = L.q1 + R.q1;
	Sum->q2 = L.q2 + R.q2;
	Sum->q3 = L.q3 + R.q3;
	Sum->q4 = L.q4 + R.q4;
}
// Subtracts two quaternions together and the sum is the pointer to another quaternion, sum = L - R
void quat_sub(Quaternion_t *Sum, Quaternion_t L, Quaternion_t R)
{
	Sum->q1 = L.q1 - R.q1;
	Sum->q2 = L.q2 - R.q2;
	Sum->q3 = L.q3 - R.q3;
	Sum->q4 = L.q4 - R.q4;
}
// the conjugate of a quaternion is it's imaginary component sign changed  q* = [s, -v] if q = [s, v]
Quaternion_t quat_conjugate(Quaternion_t q)
{
	q.q2 = -q.q2;
	q.q3 = -q.q3;
	q.q4 = -q.q4;
	return q;
}

// norm of a quaternion is the same as a complex number
float quat_Norm(Quaternion_t q)
{
	return sqrt(q.q1 * q.q1 + q.q2 * q.q2 + q.q3 * q.q3 + q.q4 * q.q4);
}

// Normalizes pointer q by calling quat_Norm(q),
void quat_Normalization(Quaternion_t *q)
{
	float norm = quat_Norm(*q);
	q->q1 /= norm;
	q->q2 /= norm;
	q->q3 /= norm;
	q->q4 /= norm;
}
void Madgwick_update(MPU6050_t *DataStruct, Euler_t *Angle,Quaternion_t *q_est)
{
	float ax = DataStruct->Ax;
	float ay = DataStruct->Ay;
	float az = DataStruct->Az;
	float gx = DataStruct->Gx;
	float gy = DataStruct->Gy;
	float gz = DataStruct->Gz;
	float mx = DataStruct->Mx;
	float my = DataStruct->My;
	float mz = DataStruct->Mz;
	// Variables and constants
	float F_g[3] = {0};	   // eq(15/21/25) objective function for gravity
	float J_g[3][4] = {0}; // jacobian matrix for gravity
	float F_b[3] = {0};	   // eq(15/21/29) objective function for magnetic
	float J_b[3][4] = {0}; // jacobian matrix for magnetic
	static Quaternion_t q_w_gradient_integral = {0};
	Quaternion_t q_est_prev = *q_est;
	Quaternion_t q_est_dot = {0}; // eq 42 and 43
	Quaternion_t gradient = {0};

	Quaternion_t q_a = {0, ax, ay, az}; // eq (24)
	if (quat_Norm(q_a) == 0)
		return;
	quat_Normalization(&q_a); // normalize the acceleration quaternion to be a unit quaternion
	// const Quaternion_t q_g_ref = {0, 0, 0, 1};// eq (23) not needed because I used eq 25 instead of eq 21

	Quaternion_t q_m = {0, mx, my, mz}; // eq (28)
	if (quat_Norm(q_m) == 0)
	{
		Madgwick_imu(&MPU6050, Angle,q_est);
		return;
	}
	quat_Normalization(&q_m); // normalize the magnetic quaternion to be a unit quaternion
	// const Quaternion_t q_b_ref = {0, 0.99, 0, -0.13};
	//  Magnetic distortion compensation
	Quaternion_t h = quat_mult(q_est_prev, quat_mult(q_m, quat_conjugate(q_est_prev))); // eq(45) (Group 1)
	Quaternion_t b = {0, sqrt(h.q2 * h.q2 + h.q3 * h.q3), 0, h.q4};						// {0, 0.99, 0, -0.13} // eq(46)

	Quaternion_t q_w = {0, gx, gy, gz}; // eq (10), places gyroscope readings in a quaternion

	// Compute the objective function for gravity, simplified to equation (25) due to the 0's in the acceleration reference quaternion
	F_g[0] = 2 * (q_est_prev.q2 * q_est_prev.q4 - q_est_prev.q1 * q_est_prev.q3) - q_a.q2;
	F_g[1] = 2 * (q_est_prev.q1 * q_est_prev.q2 + q_est_prev.q3 * q_est_prev.q4) - q_a.q3;
	F_g[2] = 2 * (0.5 - q_est_prev.q2 * q_est_prev.q2 - q_est_prev.q3 * q_est_prev.q3) - q_a.q4;

	// Compute the Jacobian matrix, equation (26), for gravity
	J_g[0][0] = -2 * q_est_prev.q3;
	J_g[0][1] = 2 * q_est_prev.q4;
	J_g[0][2] = -2 * q_est_prev.q1;
	J_g[0][3] = 2 * q_est_prev.q2;

	J_g[1][0] = 2 * q_est_prev.q2;
	J_g[1][1] = 2 * q_est_prev.q1;
	J_g[1][2] = 2 * q_est_prev.q4;
	J_g[1][3] = 2 * q_est_prev.q3;

	J_g[2][0] = 0;
	J_g[2][1] = -4 * q_est_prev.q2;
	J_g[2][2] = -4 * q_est_prev.q3;
	J_g[2][3] = 0;

	// Compute the objective function for magnetic, simplified to equation (29) due to the 0's in the magnetic reference quaternion
	F_b[0] = 2 * b.q2 * (0.5 - q_est_prev.q3 * q_est_prev.q3 - q_est_prev.q4 * q_est_prev.q4) + 2 * b.q4 * (q_est_prev.q2 * q_est_prev.q4 - q_est_prev.q1 * q_est_prev.q3) - q_m.q2;
	F_b[1] = 2 * b.q2 * (q_est_prev.q2 * q_est_prev.q3 - q_est_prev.q1 * q_est_prev.q4) + 2 * b.q4 * (q_est_prev.q1 * q_est_prev.q2 + q_est_prev.q3 * q_est_prev.q4) - q_m.q3;
	F_b[2] = 2 * b.q2 * (q_est_prev.q1 * q_est_prev.q3 + q_est_prev.q2 * q_est_prev.q4) + 2 * b.q4 * (0.5 - q_est_prev.q2 * q_est_prev.q2 - q_est_prev.q3 * q_est_prev.q3) - q_m.q4;

	// Compute the Jacobian matrix, equation (26), for magnetic

	J_b[0][0] = -2 * b.q4 * q_est_prev.q3;
	J_b[0][1] = 2 * b.q4 * q_est_prev.q4;
	J_b[0][2] = -4 * b.q2 * q_est_prev.q3 - 2 * b.q4 * q_est_prev.q1;
	J_b[0][3] = -4 * b.q2 * q_est_prev.q4 + 2 * b.q4 * q_est_prev.q2;

	J_b[1][0] = -2 * b.q2 * q_est_prev.q4 + 2 * b.q4 * q_est_prev.q2;
	J_b[1][1] = 2 * b.q2 * q_est_prev.q3 + 2 * b.q4 * q_est_prev.q1;
	J_b[1][2] = 2 * b.q2 * q_est_prev.q2 + 2 * b.q4 * q_est_prev.q4;
	J_b[1][3] = -2 * b.q2 * q_est_prev.q1 + 2 * b.q4 * q_est_prev.q3;

	J_b[2][0] = 2 * b.q2 * q_est_prev.q3;
	J_b[2][1] = 2 * b.q2 * q_est_prev.q4 - 4 * b.q4 * q_est_prev.q2;
	J_b[2][2] = 2 * b.q2 * q_est_prev.q1 - 4 * b.q4 * q_est_prev.q3;
	J_b[2][3] = 2 * b.q2 * q_est_prev.q2;

	// now computer the gradient, equation (20), gradient = J_g'*F_g + J_b'*F_b
	gradient.q1 = J_g[0][0] * F_g[0] + J_g[1][0] * F_g[1] + J_g[2][0] * F_g[2] + J_b[0][0] * F_b[0] + J_b[1][0] * F_b[1] + J_b[2][0] * F_b[2];
	gradient.q2 = J_g[0][1] * F_g[0] + J_g[1][1] * F_g[1] + J_g[2][1] * F_g[2] + J_b[0][1] * F_b[0] + J_b[1][1] * F_b[1] + J_b[2][1] * F_b[2];
	gradient.q3 = J_g[0][2] * F_g[0] + J_g[1][2] * F_g[1] + J_g[2][2] * F_g[2] + J_b[0][2] * F_b[0] + J_b[1][2] * F_b[1] + J_b[2][2] * F_b[2];
	gradient.q4 = J_g[0][3] * F_g[0] + J_g[1][3] * F_g[1] + J_g[2][3] * F_g[2] + J_b[0][3] * F_b[0] + J_b[1][3] * F_b[1] + J_b[2][3] * F_b[2];

	// Normalize the gradient, equation (44)
	quat_Normalization(&gradient);

	// Gyroscope bias drift compensation (Group 2)
	Quaternion_t q_w_gradient = quat_mult(quat_conjugate(q_est_prev), gradient);
	quat_scalar(&q_w_gradient, 2 * DELTA_T);
	quat_add(&q_w_gradient_integral, q_w_gradient_integral, q_w_gradient);
	quat_scalar(&q_w_gradient_integral, Zeta);
	quat_sub(&q_w, q_w, q_w_gradient_integral);
	// Orientation from angular rate
	quat_scalar(&q_w, 0.5);			  // equation (12) dq/dt = (1/2)q*w
	q_w = quat_mult(q_est_prev, q_w); // equation (12)
	// quat_scalar(&q_w, deltaT);             // eq (13) integrates the angles velocity to position
	// quat_add(&q_w, q_w, q_est_prev);       // addition part of equation (13)

	// Combining
	quat_scalar(&gradient, Beta);		 // multiply normalized gradient by beta
	quat_sub(&q_est_dot, q_w, gradient); // subtract above from q_w, the integrated gyro quaternion
	quat_scalar(&q_est_dot, DELTA_T);
	quat_add(q_est, q_est_prev, q_est_dot); // Integrate orientation rate to find position
	quat_Normalization(q_est);				 // normalize the orientation of the estimate
											 //(shown in diagram, plus always use unit quaternions for orientation)
	eulerAngles(*q_est, Angle);
}
void Madgwick_imu(MPU6050_t *DataStruct, Euler_t *Angle,Quaternion_t *q_est)
{
	float ax = DataStruct->Ax;
	float ay = DataStruct->Ay;
	float az = DataStruct->Az;
	float gx = DataStruct->Gx;
	float gy = DataStruct->Gy;
	float gz = DataStruct->Gz;
	// Variables and constants
	float F_g[3] = {0};	   // eq(15/21/25) objective function for gravity
	float J_g[3][4] = {0}; // jacobian matrix for gravity
	Quaternion_t q_est_prev = *q_est;
	Quaternion_t q_est_dot = {0}; // eq 42 and 43
	Quaternion_t gradient = {0};
	// const Quaternion_t q_g_ref = {0, 0, 0, 1};// eq (23) not needed because I used eq 25 instead of eq 21

	Quaternion_t q_a = {0, ax, ay, az}; // eq (24) raw acceleration values, needs to be normalized
	if (quat_Norm(q_a) == 0)
		return;
	quat_Normalization(&q_a); // normalize the acceleration quaternion to be a unit quaternion

	Quaternion_t q_w = {0, gx, gy, gz}; // equation (10), places gyroscope readings in a quaternion

	quat_scalar(&q_w, 0.5);			  // equation (12) dq/dt = (1/2)q*w
	q_w = quat_mult(q_est_prev, q_w); // equation (12)

	// quat_scalar(&q_w, deltaT);             // eq (13) integrates the angles velocity to position
	// quat_add(&q_w, q_w, q_est_prev);       // addition part of equation (13)

	// Compute the objective function for gravity, equation(15), simplified to equation (25) due to the 0's in the acceleration reference quaternion
	F_g[0] = 2 * (q_est_prev.q2 * q_est_prev.q4 - q_est_prev.q1 * q_est_prev.q3) - q_a.q2;
	F_g[1] = 2 * (q_est_prev.q1 * q_est_prev.q2 + q_est_prev.q3 * q_est_prev.q4) - q_a.q3;
	F_g[2] = 2 * (0.5 - q_est_prev.q2 * q_est_prev.q2 - q_est_prev.q3 * q_est_prev.q3) - q_a.q4;

	// Compute the Jacobian matrix, equation (26), for gravity
	J_g[0][0] = -2 * q_est_prev.q3;
	J_g[0][1] = 2 * q_est_prev.q4;
	J_g[0][2] = -2 * q_est_prev.q1;
	J_g[0][3] = 2 * q_est_prev.q2;

	J_g[1][0] = 2 * q_est_prev.q2;
	J_g[1][1] = 2 * q_est_prev.q1;
	J_g[1][2] = 2 * q_est_prev.q4;
	J_g[1][3] = 2 * q_est_prev.q3;

	J_g[2][0] = 0;
	J_g[2][1] = -4 * q_est_prev.q2;
	J_g[2][2] = -4 * q_est_prev.q3;
	J_g[2][3] = 0;

	// now computer the gradient, equation (20), gradient = J_g'*F_g
	gradient.q1 = J_g[0][0] * F_g[0] + J_g[1][0] * F_g[1] + J_g[2][0] * F_g[2];
	gradient.q2 = J_g[0][1] * F_g[0] + J_g[1][1] * F_g[1] + J_g[2][1] * F_g[2];
	gradient.q3 = J_g[0][2] * F_g[0] + J_g[1][2] * F_g[1] + J_g[2][2] * F_g[2];
	gradient.q4 = J_g[0][3] * F_g[0] + J_g[1][3] * F_g[1] + J_g[2][3] * F_g[2];

	// Normalize the gradient, equation (44)
	quat_Normalization(&gradient);
	// Combining
	quat_scalar(&gradient, Beta);		 // multiply normalized gradient by beta
	quat_sub(&q_est_dot, q_w, gradient); // subtract above from q_w, the integrated gyro quaternion
	quat_scalar(&q_est_dot, DELTA_T);
	quat_add(q_est, q_est_prev, q_est_dot); // Integrate orientation rate to find position
	quat_Normalization(q_est);				 // normalize the orientation of the estimate
											 //(shown in diagram, plus always use unit quaternions for orientation)
	eulerAngles(*q_est, Angle);
}
void eulerAngles(Quaternion_t q, Euler_t *Angle)
{

	Angle->yaw = atan2f((2 * q.q2 * q.q3 - 2 * q.q1 * q.q4), (2 * q.q1 * q.q1 + 2 * q.q2 * q.q2 - 1)); // equation (7)
	Angle->pitch = -asinf(2 * q.q2 * q.q4 + 2 * q.q1 * q.q3);										   // equatino (8)
	Angle->roll = atan2f((2 * q.q3 * q.q4 - 2 * q.q1 * q.q2), (2 * q.q1 * q.q1 + 2 * q.q4 * q.q4 - 1));

	Angle->yaw *= -(180.0f / PI);
	Angle->pitch *= -(180.0f / PI);
	Angle->roll *= -(180.0f / PI);

	Angle->yaw += Offfset.yaw;
	Angle->pitch += Offfset.pitch;
	Angle->roll += Offfset.roll;
}
void eulerAngles_GimbalLock(Quaternion_t q, Euler_t *Angle)
{
	Angle->roll 	= atan2f(2*(q.q1*q.q2 + q.q3*q.q4), q.q1*q.q1 - q.q2*q.q2 - q.q3*q.q3 + q.q4*q.q4);
	Angle->pitch 	= asin(2*(q.q1*q.q3 - q.q2*q.q4));
	Angle->yaw 		= atan2f(2*(q.q1*q.q4 + q.q2*q.q3), q.q1*q.q1 + q.q2*q.q2 - q.q3*q.q3 - q.q4*q.q4);

	//Gimbal Lock
	if(Angle->pitch == PI/2)
	{
		Angle->roll = 0;
		Angle->yaw 	= -2*atan2f(q.q2, q.q1);
	}
	if(Angle->pitch == -PI/2)
	{
		Angle->roll = 0;
		Angle->yaw 	= 2*atan2f(q.q2, q.q1);
	}

	// Radian to Degree
	Angle->roll *= (180.0f / PI);
	Angle->pitch *= (180.0f / PI);
	Angle->yaw *= (180.0f / PI);

	// Offset Angle
	Angle->roll += Offfset.roll;
	Angle->pitch += Offfset.pitch;
	Angle->yaw += Offfset.yaw;
}
void LPF(Lowpass_t *lp, float cutoffFrequency, float input)
{
	lp->ePow = 1 - exp(-SIMPLE_TIME * 2 * PI * cutoffFrequency);
	lp->out += (input - lp->out) * lp->ePow;
}
void setupESC()
{
	HAL_TIM_Base_Start_IT(&htim1);
	HAL_TIM_PWM_Start(&htim1, TIM_CHANNEL_1);
	__HAL_TIM_SET_COMPARE(&htim1, TIM_CHANNEL_1, 20000 * 0.04);
	HAL_TIM_PWM_Start(&htim1, TIM_CHANNEL_2);
	__HAL_TIM_SET_COMPARE(&htim1, TIM_CHANNEL_2, 20000 * 0.04);
	HAL_TIM_PWM_Start(&htim1, TIM_CHANNEL_3);
	__HAL_TIM_SET_COMPARE(&htim1, TIM_CHANNEL_3, 20000 * 0.04);
	HAL_TIM_PWM_Start(&htim1, TIM_CHANNEL_4);
	__HAL_TIM_SET_COMPARE(&htim1, TIM_CHANNEL_4, 20000 * 0.04);
	HAL_Delay(2000);
}
void ESC_Control(uint16_t Duty1,uint16_t Duty2,uint16_t Duty3,uint16_t Duty4)
{
	__HAL_TIM_SET_COMPARE(&htim1, TIM_CHANNEL_1, Duty1); // 1000 to 2000
	__HAL_TIM_SET_COMPARE(&htim1, TIM_CHANNEL_2, Duty2); // 1000 to 2000
	__HAL_TIM_SET_COMPARE(&htim1, TIM_CHANNEL_3, Duty3); // 1000 to 2000
	__HAL_TIM_SET_COMPARE(&htim1, TIM_CHANNEL_4, Duty4); // 1000 to 2000
}
float PID_Control(float Sp, float Fb, PID_t *pid)
{
	//
	float out;
	// Caculator Error
	pid->e = Sp - Fb;
	// Caculator Delta Error
	pid->v_e = pid->e - pid->e_pre;
	// Caculator Integral Error (not include Delta t)
		// error will be integrated when error is in the range
	if (fabs(pid->e) < (pid->range*Sp))
	{
		// Integral
		pid->e_i += pid->e;
		// Limit Integral
		if (pid->e_i > pid->Upper_limit) pid->e_i = pid->Upper_limit;
		if (pid->e_i < pid->Lower_limit) pid->e_i = pid->Lower_limit;
	}
	else pid->e_i = 0;

		// converge
	if(pid->e*pid->v_e < 0)
	{
		//do something
	}
		// divergence
	else
	{
		// do something
	}

	// save value
	pid->e_pre = pid->e;
	// output PID
	return out = pid->Kp*pid->e + pid->Ki*pid->e_i*DELTA_T + pid->Kd*pid->v_e/DELTA_T;
}

void Combining_Angle_height(Motor_t *m1, Motor_t *m2, Motor_t *m3, Motor_t *m4, float roll, float pitch, float yaw, float height)
{
	m1->Duty = m1->Duty_min +  pitch + yaw + height;
	m2->Duty = m1->Duty_min +  roll  - yaw + height;
	m3->Duty = m1->Duty_min + -pitch + yaw + height;
	m4->Duty = m1->Duty_min + -roll  - yaw + height;
	// limit duty
	if(m1->Duty > m1->Duty_max) m1->Duty = m1->Duty_max;
	if(m2->Duty > m2->Duty_max) m2->Duty = m2->Duty_max;
	if(m3->Duty > m3->Duty_max) m3->Duty = m3->Duty_max;
	if(m4->Duty > m4->Duty_max) m4->Duty = m4->Duty_max;
	if(m1->Duty < m1->Duty_min) m1->Duty = m1->Duty_min;
	if(m2->Duty < m2->Duty_min) m2->Duty = m2->Duty_min;
	if(m3->Duty < m3->Duty_min) m3->Duty = m3->Duty_min;
	if(m4->Duty < m4->Duty_min) m4->Duty = m4->Duty_min;
}
void Lowpass(float in,Lowpass_t *filter, float iCutOffFrequency)
{

	filter->ePow = (1-exp(-SIMPLE_TIME * 2 * PI * iCutOffFrequency));
	filter->out += (in - filter->out) * filter->ePow;
}
void plot(Euler_t angle)
{

}
void HAL_TIM_PeriodElapsedCallback(TIM_HandleTypeDef *htim)
{
	if (htim->Instance == htim2.Instance)
	{
		// Read Data
		HAL_GPIO_TogglePin(GPIOD, GPIO_PIN_12);
		MPU6050_Read_All(&hi2c1, &MPU6050);
		MS5611_calculate(&MS5611);
		//Filter
		Lowpass(MS5611.P,&LP_height,0.3);
		Madgwick_update(&MPU6050, &Madgwick, &Q_est);// roll pitch yaw
		eulerAngles_GimbalLock(Q_est, &Madgwick_GimbalLock);

		height = getAltitude(LP_height.out,101325); // Z
		//Control
		float roll  =	PID_Control(Setpoint.roll,	Madgwick.roll,	&PID_roll); 	// 0 to 1000
		float pitch = PID_Control(Setpoint.pitch,	Madgwick.pitch,	&PID_pitch);	// 0 to 1000
		float yaw   = PID_Control(Setpoint.yaw,		Madgwick.yaw,		&PID_yaw);		// 0 to 1000
		float Z     = PID_Control(SP_height,			height,					&PID_height);	// 0 to 1000

		Combining_Angle_height(&M1, &M2, &M3, &M4, roll, pitch, yaw, Z);//Duty = Duty_min + Duty_PID (Duty_min to Duty_max)
		// Enable output PID
		if(enable)
		{
			ESC_Control(M1.Duty+M1.Duty_base, M2.Duty_min, M3.Duty+M3.Duty_base, M4.Duty_min); // Duty + Duty_base
		}
		else
		{
			ESC_Control(M1.Duty_min, M2.Duty_min, M3.Duty_min, M4.Duty_min); // Duty_min
		}
	}
}
/* USER CODE END 4 */

void Error_Handler(void)
{
  __disable_irq();
  while (1)
  {
  }
}
